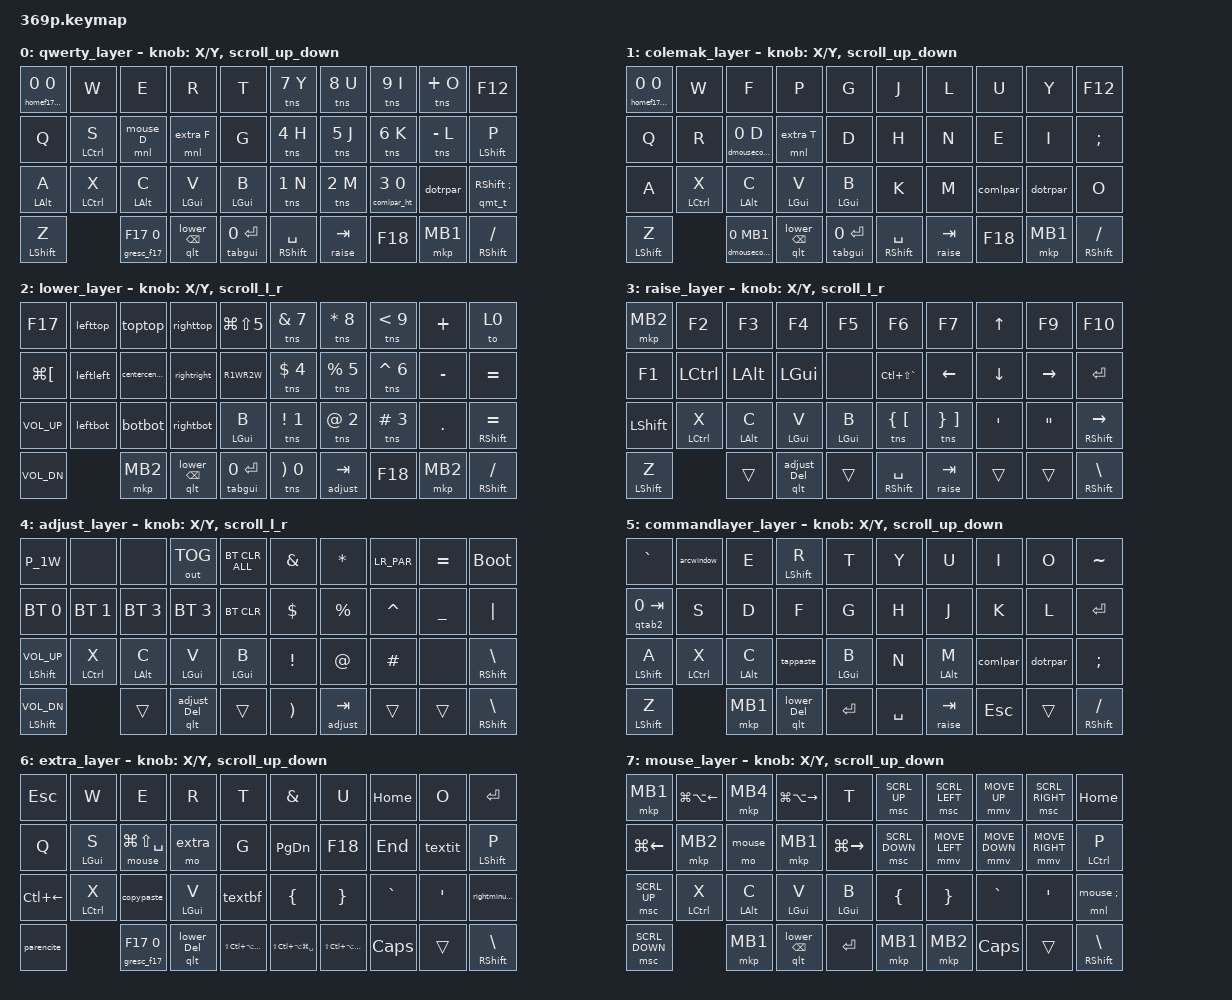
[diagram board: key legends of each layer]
/*
 * Copyright (c) 2020 The ZMK Contributors
 *
 * SPDX-License-Identifier: MIT
 *
 * Build commands:
 west build -d build/369p_left -p -b xiao_ble//zmk -- -DSHIELD=369p_left
 west build -d build/369p_right -p -b xiao_ble//zmk -- -DSHIELD=369p_right
 west build -d build/xiao_ble_reset -p -b xiao_ble//zmk -- -DSHIELD=settings_reset
 *
 docker cp naughty_cohen:/workspaces/zmk/app/build/369p_left/zephyr/zmk.uf2 "/Users/song100/Library/Mobile Documents/com~apple~CloudDocs/Keyboard/36firmware/369p_left.uf2"
 docker cp naughty_cohen:/workspaces/zmk/app/build/369p_right/zephyr/zmk.uf2 "/Users/song100/Library/Mobile Documents/com~apple~CloudDocs/Keyboard/36firmware/369p_right.uf2"
 docker cp naughty_cohen:/workspaces/zmk/app/build/xiao_ble_reset/zephyr/zmk.uf2 "/Users/song100/Library/Mobile Documents/com~apple~CloudDocs/Keyboard/36firmware/xiao_ble_reset.uf2"
 *
 */

// Macros, behaviors, combos, and global settings are in:
#include "369p_behaviors.dtsi"

// ------------------------------------------------------------------
// Keymap layers
// ------------------------------------------------------------------
/{
    keymap {
        compatible = "zmk,keymap";

        qwerty_layer {
            bindings = <    
    &homef17mm 0 0  &kp W           &kp E               &kp R               &kp T           &tns N7 Y           &tns N8 U           &tns N9 I       &tns PLUS O         &kp F12
    &kp Q           &bhm LCTL S           &mnl mouse D        &mnl extra F        &kp G           &tns N4 H           &tns N5 J           &tns N6 K       &tns MINUS L        &bhm LSHFT P
    &bhm LALT A           &bhm LCTRL X    &bhm LALT C         &bhm LGUI V         &bhm LGUI B     &tns N1 N           &tns N2 M           &comlpar_ht N3 0 &dotrpar           &qmt_t RSHFT SEMI
    &bhm LSHFT Z                    &gresc_f17 F17 0 &qlt lower BSPC &tabgui 0 RET   &bhm RSHFT SPACE    &lt raise TAB       &kp F18         &mkp MB1            &mt RSHFT FSLH
                >;
            sensor-bindings = <&inc_dec_kp X Y &scroll_up_down>;
        };
        colemak_layer {
            bindings = <
    &homef17mm 0 0  &kp W           &kp F               &kp P               &kp G           &kp J               &kp L               &kp U           &kp Y               &kp F12
    &kp Q           &kp R           &dmousecombo 0 D        &mnl extra T        &kp D           &kp H               &kp N               &kp E           &kp I               &kp SEMI
    &kp A           &bhm LCTRL X    &bhm LALT C         &bhm LGUI V         &bhm LGUI B     &kp K               &kp M               &comlpar        &dotrpar            &kp O      
    &bhm LSHFT Z                    &dmousecombo2 0 MB1 &qlt lower BSPC     &tabgui 0 RET   &bhm RSHFT SPACE    &lt raise TAB       &kp F18         &mkp MB1            &mt RSHFT FSLH
                 >;
sensor-bindings = <&inc_dec_kp X Y &scroll_up_down>;
        };
        lower_layer {
            bindings = <
    &kp F17  &lefttop        &toptop             &righttop           &kp LG(LS(N5))  &tns AMPS N7        &tns ASTRK N8       &tns LT N9      &kp PLUS            &to 0 
    &kp LG(LBKT)    &leftleft       &centercenter       &rightright         &R1WR2W         &tns DLLR N4        &tns PRCNT N5       &tns CARET N6   &kp MINUS           &kp EQUAL
    &kp C_VOL_UP    &leftbot        &botbot             &rightbot           &bhm LGUI B     &tns EXCL N1        &tns AT N2          &tns POUND N3   &kp DOT             &mt RSHFT EQUAL
    &kp C_VOL_DN                    &mkp MB2                &qlt lower BSPC  &tabgui 0 RET   &tns RPAR N0        &lt adjust TAB      &kp F18         &mkp MB2            &mt RSHFT FSLH
    >;
sensor-bindings = <&inc_dec_kp X Y &scroll_l_r>;
        };
        raise_layer {
            bindings = <
    &mkp MB2        &kp F2          &kp F3              &kp F4              &kp F5          &kp F6              &kp F7              &kp UP          &kp F9              &kp F10
    &kp F1          &kp LCTL        &kp LALT            &kp LGUI            &none           &kp LC(LS(GRAVE))     &kp LEFT            &kp DOWN         &kp RIGHT            &kp RET
    &kp LSHFT       &bhm LCTRL X    &bhm LALT C         &bhm LGUI V         &bhm LGUI B     &tns LBRC LBKT      &tns RBRC RBKT      &kp SQT         &kp DQT             &mt RSHFT RIGHT
    &bhm LSHFT Z                    &trans              &qlt adjust DEL     &trans          &bhm RSHFT SPACE    &lt raise TAB       &trans          &trans              &mt RSHFT BSLH
    >;
sensor-bindings = <&inc_dec_kp X Y &scroll_l_r>;
        };
        adjust_layer {
            bindings = <
    &P_1W           &none           &none               &out OUT_TOG        &bt BT_CLR_ALL  &kp AMPS            &kp ASTRK           &LR_PAR         &kp EQUAL           &bootloader
    &bt BT_SEL 0    &bt BT_SEL 1    &bt BT_SEL 3        &bt BT_SEL 3        &bt BT_CLR      &kp DLLR            &kp PRCNT           &kp CARET       &kp UNDER           &kp PIPE
    &bhm LSHFT C_VOL_UP &bhm LCTRL X &bhm LALT C        &bhm LGUI V         &bhm LGUI B     &kp EXCL            &kp AT              &kp POUND       &none               &mt RSHFT BSLH
    &bhm LSHFT C_VOL_DN             &trans              &qlt adjust DEL     &trans          &kp RPAR            &lt adjust TAB      &trans          &trans              &mt RSHFT BSLH
    >;
            sensor-bindings = <&inc_dec_kp X Y &scroll_l_r>;    
        };
        commandlayer_layer {
            bindings = <
    &kp GRAVE       &arcwindow      &kp E               &bhm LSHFT R        &kp T           &kp Y               &kp U               &kp I           &kp O               &kp TILDE
    &qtab2 0 TAB    &kp S           &kp D               &kp F               &kp G           &kp H               &kp J               &kp K           &kp L               &kp RET
    &bhm LSHFT A    &bhm LCTRL X    &bhm LALT C         &tappaste         &bhm LGUI B     &kp N               &bhm LALT M         &comlpar        &dotrpar            &kp SEMI
    &bhm LSHFT Z                    &mkp MB1            &qlt lower DEL      &kp RET         &kp SPACE           &lt raise TAB       &kp ESC         &trans              &mt RSHFT FSLH
    >;
sensor-bindings = <&inc_dec_kp X Y &scroll_up_down>;
        };
        extra_layer {
            bindings = <
    &kp ESC         &kp W           &kp E               &kp R               &kp T           &kp AMPS            &kp U               &kp HOME        &kp O               &kp RET
    &kp Q           &bhm LGUI S     &mt mouse LG(LS(SPACE)) &mo extra       &kp G           &kp PG_DN           &kp F18             &kp END         &textit             &bhm LSHFT P 
    &kp LC(LEFT)    &bhm LCTRL X    &copypaste          &bhm LGUI V         &textbf         &kp LBRC            &kp RBRC            &kp GRAVE       &kp SQT             &rightminusgt      
    &parencite                      &gresc_f17 F17 0    &qlt lower DEL      &kp LS(LC(LA(LG(RET)))) &kp LS(LC(LA(LG(SPACE)))) &kp LS(LC(LA(LG(TAB)))) &kp CAPS  &trans              &mt RSHFT BSLH
                >;
sensor-bindings = <&inc_dec_kp X Y &scroll_up_down>;
        };
        mouse_layer {
            bindings = <
    &mkp MB1        &kp LG(LA(LEFT)) &mkp MB4           &kp LG(LA(RIGHT))   &kp T           &msc SCRL_UP        &msc SCRL_LEFT      &mmv MOVE_UP    &msc SCRL_RIGHT     &kp HOME
    &kp LG(LEFT)    &mkp MB2        &mo mouse           &mkp MB1            &kp LG(RIGHT)   &msc SCRL_DOWN      &mmv MOVE_LEFT      &mmv MOVE_DOWN  &mmv MOVE_RIGHT     &bhm LCTL P
    &msc SCRL_UP    &bhm LCTRL X    &bhm LALT C         &bhm LGUI V         &bhm LGUI B     &kp LBRC            &kp RBRC            &kp GRAVE       &kp SQT             &mnl mouse SEMI      
    &msc SCRL_DOWN                  &mkp MB1            &qlt lower BSPC     &kp RET         &mkp MB1            &mkp MB2            &kp CAPS        &trans              &mt RSHFT BSLH
                >;
sensor-bindings = <&inc_dec_kp X Y &scroll_up_down>;
        };
    };
};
